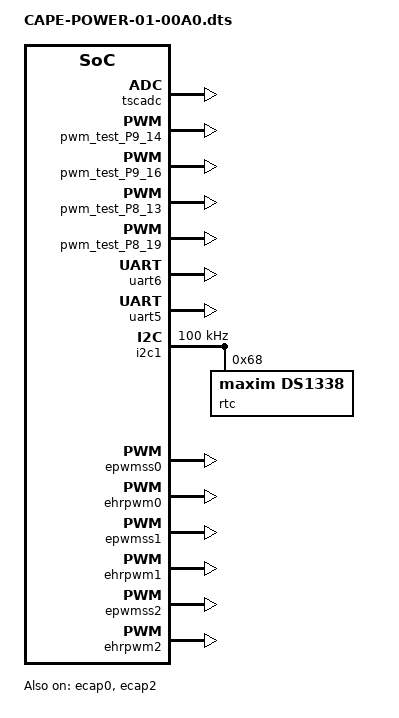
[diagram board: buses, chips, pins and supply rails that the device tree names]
/*
* Jacob Yacovelli
* Modified by William Gerhard
* POWER cape
*/
/dts-v1/;
/plugin/;

/*
 * Pin assignments
 *
 * Module        Connector
 * SWDRVA        P8.07
 * SWDRVB        P8.08
 * LNA_PWR_CTRL  P8.09
 * GP_LED0       P8.10
 * GP_LED1       P8.11
 * DACLDAC       P8.12
 * DACBUSY       P8.13
 * UART-4-TX-EN  P8.14
 * UART-5-TX     P8.37
 * UART-5-RX     P8.38
 * UART-4-RX     P9.11
 * UART-4-TX     P9.13
 * DACSYNC       P9.17
 * DACMOSI       P9.18
 * I2C_SCL_CAPE  P9.19
 * I2C_SDA_CAPE  P9.20
 * DACMISO       P9.21
 * DACSCLK       P9.22
 * DACRESET      P9.23
 * I2C_SCL_ESA   P9.24
 * I2C_SDA_ESA   P9.26
 *
 */

/ {
	compatible = "ti,beaglebone-black";
	part-number = "CAPE-POWER-01";
	version = "00A0";

	/* state the resources this cape uses */
	exclusive-use =
		/* the pin header uses */
		"P8.07",    /* gpio:  gpio2_2 */
		"P8.08",    /* gpio:  gpio2_3 */
		"P8.09",    /* gpio:  gpio2_5 */
		"P8.10",    /* gpio:  gpio2_4 */
		"P8.11",    /* gpio:  gpio1_13 */
		"P8.12",    /* gpio:  gpio1_12 */
		"P8.13",    /* gpio:  gpio0_23 */
		"P8.14",    /* PWM: PWM 2B */
		"P8.15",    /* GPIO */
		"P8.16",    /* GPIO */
		"P8.17",    /* GPIO */
		"P8.18",    /* GPIO */
		"P8.19",    /* PWM: PWM2A */
		"P8.27",    /* GPIO */
		"P8.28",    /* GPIO */
		"P8.29",    /* GPIO */
		"P8.30",    /* GPIO */
		"P8.31",    /* GPIO */
		"P8.32",    /* GPIO */
		"P8.33",    /* GPIO */
		"P8.34",    /* GPIO */
		"P8.35",    /* GPIO */
		"P8.36",    /* GPIO */
		"P8.37",    /* uart:  uart5_txd */
		"P8.38",    /* uart:  uart5_rxd */
		"P8.39",    /* GPIO */
		"P8.40",    /* GPIO */
		"P8.41",    /* GPIO */
		"P8.42",    /* GPIO */
		"P8.43",    /* GPIO */
		"P8.44",    /* GPIO */
		"P8.45",    /* GPIO */
		"P8.46",    /* GPIO */

		"P9.11",    /* uart:  uart4_rxd_mux2 */
		"P9.12",    /* GPIO */
		"P9.13",    /* uart:  uart4_txd_mux2 */
		"P9.14",    /* PWM: PWM1A */
		"P9.15",    /* GPIO */
		"P9.16",    /* PWM: PWM1B */
		"P9.17",    /* GPIO */
		"P9.18",    /* GPIO */
		/*"P9.19",*/    /* i2c:   I2C2_SCL */
		/*"P9.20",*/    /* i2c:   I2C2_SDA */
		"P9.21",    /* uart: uart2_txd*/
		"P9.22",    /* uart: uart2_rxd */
		"P9.23",    /* gpio:  gpio1_17 */
		"P9.24",    /* i2c:   I2C1_SCL */
		"P9.26",    /* i2c:   I2C1_SDA */
		"P9.27",    /* GPIO */
		"P9.28",    /* GPIO */
		"P9.29",    /* GPIO */
		"P9.30",    /* GPIO */
		"P9.31",    /* GPIO */

		"P9.39",    /* AIN0 */
        "P9.40",    /* AIN1 */
        "P9.37",    /* AIN2 */
        "P9.38",    /* AIN3 */
        "P9.33",    /* AIN4 */
        "P9.36",    /* AIN5 */
        "P9.35",    /* AIN6 */

        "P9.42",    /* GPIO */

		/* the hardware IP uses */
		/* P9 Header */
		"gpio0_31",
		"ehrpwm1A", 
		"gpio1_16",
		"ehrpwm1B",
		"gpio0_5",
		"gpio0_4",
		"gpio1_17",
		"gpio3_21",
		"gpio3_19",
		"gpio3_17",
		"gpio3_15",
		"gpio3_16",
		"gpio3_14",
		"gpio0_7",
		"uart4",
		"tscadc",
		"i2c1",

		/* P8 Header */
		"gpio2_2",
		"gpio2_3",
		"gpio2_5",
		"gpio2_4",
		"gpio1_13",
		"gpio1_12",
		"ehrpwm2",
		"gpio0_26",
		"gpio1_15",
		"gpio1_14",
		"gpio0_27",
		"gpio2_1",
		"ehrpwm2A",
		"gpio2_24",
		"gpio2_23",
		"gpio2_25",
		"gpio0_10",
		"gpio0_11",
		"gpio0_9",
		"gpio2_17",
		"gpio0_8",
		"gpio2_16",
		"uart5",
		"gpio2_12",
		"gpio2_13",
		"gpio2_10",
		"gpio2_11",
		"gpio2_8",
		"gpio2_9",
		"gpio2_6",
		"gpio2_7";



	

	fragment@0 {
		target = <&am33xx_pinmux>;
		__overlay__ {

			pwm_P9_14: pinmux_pwm_P9_14_pins {
                                pinctrl-single,pins = <0x048  0x6>; /* P9_14 (ZCZ ball U14) | MODE 6 */
                        };

            pwm_P9_16: pinmux_pwm_P9_16_pins {
                                pinctrl-single,pins = <0x04c  0x6>; /* P9_16 (ZCZ ball T14) | MODE 6 */
                        };

            pwm_P8_13: pinmux_pwm_P8_13_pins {
                                pinctrl-single,pins = <0x024  0x4>; /* P8_13 (ZCZ ball T10) | MODE 4 */
                        };

            pwm_P8_19: pinmux_pwm_P8_19_pins {
                                pinctrl-single,pins = <0x020  0x4>; /* P8_19 (ZCZ ball U10) | MODE 4 */
                        };

			gpio_extra_pins: pinmux_gpio_extra_pins {
				pinctrl-single,pins = <
					0x078  0x2F     /* gpio0_31 | INPUT | MODE7 */
					0x040  0x2F     /* gpio1_16 | INPUT | MODE7 */
					0x15c  0x2F     /* gpio0_5 | INPUT | MODE7 */
					0x158  0x2F     /* gpio0_4 | INPUT | MODE7 */
					0x1ac  0x2F     /* gpio3_21 | INPUT | MODE7 */
					0x198  0x2F     /* gpio3_16 | INPUT | MODE7 */
					0x190  0x2F     /* gpio3_14 | INPUT | MODE7 */
					0x164  0x2F     /* gpio0_7 | INPUT | MODE7 */
					/*P8*/
					0x090  0x2F     /* gpio2_2 | INPUT | MODE7 */
					0x094  0x2F     /* gpio2_3 | INPUT | MODE7 */
					0x09c  0x2F     /* gpio2_5 | INPUT | MODE7 */
					0x098  0x2F     /* gpio2_4 | INPUT | MODE7 */

				>;
			};

			gpio_power_pins: pinmux_gpio_power_pins {
				pinctrl-single,pins = <
					0x1a4  0x07     /* gpio3_19 | OUTPUT | MODE7 */
					0x19c  0x07     /* gpio3_17 | OUTPUT | MODE7 */
					0x194  0x07     /* gpio3_15 | OUTPUT | MODE7 */
					/* P8 */
					0x08c  0x07     /* gpio2_1 | OUTPUT | MODE7 */
					0x0d8  0x07     /* gpio0_10 | OUTPUT | MODE7 */
					0x0dc  0x07     /* gpio0_11 | OUTPUT | MODE7 */
					0x0d4  0x07     /* gpio0_9 | OUTPUT | MODE7 */
					0x0cc  0x07     /* gpio2_17 | OUTPUT | MODE7 */
					0x0d0  0x07     /* gpio0_8 | OUTPUT | MODE7 */
					0x0c8  0x07     /* gpio2_16 | OUTPUT | MODE7 */
					0x0b8  0x07     /* gpio2_12 | OUTPUT | MODE7 */
					0x0bc  0x07     /* gpio2_13 | OUTPUT | MODE7 */
					0x0b0  0x07     /* gpio2_10 | OUTPUT | MODE7 */
					0x0b4  0x07     /* gpio2_11 | OUTPUT | MODE7 */
				
				>;
			};

			gpio_RFSW_pins: pinmux_gpio_RFSW_pins {
				pinctrl-single,pins = <
					0x0e0  0x07     /* gpio2_22 | OUTPUT | MODE7 */
					0x0e8  0x07     /* gpio2_24 | OUTPUT | MODE7 */
					0x0e4  0x07     /* gpio2_23 | OUTPUT | MODE7 */
					0x0ec  0x07     /* gpio2_25 | OUTPUT | MODE7 */
					0x0a8  0x07     /* gpio2_8 | OUTPUT | MODE7 */
					0x0ac  0x07     /* gpio2_9 | OUTPUT | MODE7 */
					0x0a0  0x07     /* gpio2_6 | OUTPUT | MODE7 */
					0x0a4  0x07     /* gpio2_7 | OUTPUT | MODE7 */
				>;
			};

			gpio_power_good_pins: pinmux_gpio_power_good_pins {
				pinctrl-single,pins = <
					0x028  0x2F     /* gpio0_26 | INPUT | MODE7 */
					0x03c  0x2F     /* gpio1_15 | INPUT | MODE7 */
					0x038  0x2F     /* gpio1_14 | INPUT | MODE7 */
					0x02c  0x2F     /* gpio0_27 | INPUT | MODE7 */
				>;
			};

			gpio_status_pins: pinmux_gpio_status_pins {
				pinctrl-single,pins = <
				0x034 0x2F /* gpio1_13 | INPUT | MODE7 */
				0x030 0x2F /* gpio1_12 | INPUT | MODE7 */
					
				>;
			};

			gpio_uart4_pins: pinmux_gpio_uart4_pins {
				pinctrl-single,pins = <
					0x028  0x07     /* gpio0_26 | OUTPUT | MODE7 */
				>;
			};
			gpio_uart2_pins: pinmux_gpio_uart2_pins {
				pinctrl-single,pins = <
					0x044  0x07     /* gpio0_26 | OUTPUT | MODE7 */
				>;
			};

			uart5_pins: pinmux_uart5_pins {
				pinctrl-single,pins = <
					0x0C0 0x04	    /* uart5_txd | MODE4 */
					0x0C4 0x24	    /* uart5_rxd | MODE4 */
				>;
			};

			uart4_pins: pinmux_uart4_pins {
				pinctrl-single,pins = <
					0x070 0x26	    /* uart4_rxd | MODE6 */
					0x074 0x06	    /* uart4_txd | MODE6 */
				>;
			};

			uart2_pins: pinmux_uart2_pins {
				pinctrl-single,pins = <
					0x154 0x21	    /* uart2_rxd | MODE1 */
					0x154 0x01	    /* uart2_txd | MODE1 */
				>;
			};

			
			i2c1_esa_pins: pinmux_i2c1_esa_pins {
				pinctrl-single,pins = <
					0x184 0x73	    /* i2c1_scl, SLEWCTRL_SLOW | INPUT_PULLUP | MODE3 */
					0x180 0x73	    /* i2c1_sda, SLEWCTRL_SLOW | INPUT_PULLUP | MODE3 */
				>;
			};
		};
	};
	
	fragment@1 {
		target = <&ocp>;
		__overlay__ {
			extra_pinmux_helper {
				compatible = "bone-pinmux-helper";
				pinctrl-names = "default";
				pinctrl-0 = <&gpio_extra_pins>;
				status = "okay";
			};

			power_pinmux_helper {
				compatible = "bone-pinmux-helper";
				pinctrl-names = "default";
				pinctrl-0 = <&gpio_power_pins>;
				status = "okay";
			};

			RFSW_pinmux_helper {
				compatible = "bone-pinmux-helper";
				pinctrl-names = "default";
				pinctrl-0 = <&gpio_RFSW_pins>;
				status = "okay";
			};

			power_good_pinmux_helper {
				compatible = "bone-pinmux-helper";
				pinctrl-names = "default";
				pinctrl-0 = <&gpio_power_good_pins>;
				status = "okay";
			};

			status_pinmux_helper {
				compatible = "bone-pinmux-helper";
				pinctrl-names = "default";
				pinctrl-0 = <&gpio_status_pins>;
				status = "okay";
			};

			uart4_pinmux_helper {
				compatible = "bone-pinmux-helper";
				pinctrl-names = "default";
				pinctrl-0 = <&gpio_uart4_pins>;
				status = "okay";
			};

			uart2_pinmux_helper {
				compatible = "bone-pinmux-helper";
				pinctrl-names = "default";
				pinctrl-0 = <&gpio_uart2_pins>;
				status = "okay";
			};
		};
	};

	fragment@2 {
		target = <&uart6>;      /* really uart5 */
		__overlay__ {
			pinctrl-names = "default";
			pinctrl-0 = <&uart5_pins>;
			status = "okay";			
		};
	};

	fragment@3 {
		target = <&uart5>;      /* really uart4 */
		__overlay__ {
			pinctrl-names = "default";
			pinctrl-0 = <&uart4_pins>;
			status = "okay";
		};
	};

	

	fragment@4 {
		target = <&i2c1>;       /* i2c1 is numbered correctly */
		__overlay__ {
			status = "okay";
			pinctrl-names = "default";
			pinctrl-0 = <&i2c1_esa_pins>;

			/* this is the configuration part */
			clock-frequency = <100000>;     

			#address-cells = <1>;
			#size-cells = <0>;

			/* MCP79410 RTC module */
			rtc@68 {
				compatible = "maxim,ds1338";
				reg = <0x68>;
			};
		};
	};

	fragment@5 {
		target = <&ocp>;
		__overlay__ {
			/* avoid stupid warning */
			#address-cells = <1>;
			#size-cells = <1>;

			tscadc {
				compatible = "ti,ti-tscadc";
				reg = <0x44e0d000 0x1000>;

				interrupt-parent = <&intc>;
				interrupts = <16>;
				ti,hwmods = "adc_tsc";
				status = "okay";

				adc {
					ti,adc-channels = <0 1 2 3 4 5 6 7>;
				};
			};

			test_helper: helper {
				compatible = "bone-iio-helper";
				vsense-name  = "AIN0", "AIN1", "AIN2", "AIN3", "AIN4", "AIN5", "AIN6", "AIN7";
				vsense-scale = <100     100     100     100     100     100     100     100>;
				status = "okay";
			};
		};
	};

	       fragment@6 {
                target = <&epwmss0>;
                __overlay__ {
                        status = "okay";
                };
        };

        fragment@7 {
                target = <&ehrpwm0>;
                __overlay__ {
                        status = "okay";
                };
        };

        fragment@8 {
                target = <&ecap0>;
                __overlay__ {
                        status = "okay";
                };
        };

        fragment@9 {
                target = <&epwmss1>;
                __overlay__ {
                        status = "okay";
                };
        };
  
        fragment@10 {
                target = <&ehrpwm1>;   
                __overlay__ {
                        status = "okay";
                };
        };
   
        fragment@11 {
         	target = <&epwmss2>;
                __overlay__ {
                        status = "okay";
   	        };
        };

                fragment@12 {
                target = <&ehrpwm2>;
                __overlay__ {
                        status = "okay";
                };
        };

        fragment@13 {
                target = <&ecap2>;
                __overlay__ {
                        status = "okay";
                };
        };

        fragment@14 {
                target = <&ocp>;
                __overlay__ {
                        pwm_test_P9_14 {
                                compatible	= "pwm_test";
                                pwms            = <&ehrpwm1 0 500000 1>;
                                pwm-names	= "PWM_P9_14";
                            pinctrl-names	= "default";
                            pinctrl-0   = <&pwm_P9_14>;
                                enabled         = <1>;
                                duty            = <0>;
                                status          = "okay";
                        };
                };
        };

         fragment@15 {
                target = <&ocp>;
                __overlay__ {
                        pwm_test_P9_16 {
                                compatible	= "pwm_test";
                                pwms            = <&ehrpwm1 1 500000 1>;
                                pwm-names	= "PWM_P9_16";
                            pinctrl-names	= "default";
                            pinctrl-0   = <&pwm_P9_16>;
                                enabled         = <1>;
                                duty            = <0>;
                                status          = "okay";
                        };
                };
            };

   fragment@16 {
                target = <&ocp>;
                __overlay__ {
                        pwm_test_P8_13 {
                                compatible	= "pwm_test";
                                pwms            = <&ehrpwm2 1 500000 1>;
                                pwm-names	= "PWM_P8_13";

                                pinctrl-names   = "default";
                                pinctrl-0	= <&pwm_P8_13>;

                                enabled         = <1>;
                                duty            = <0>;
                                status          = "okay";
                        };
                };
        };

    fragment@17 {
                target = <&ocp>;
                __overlay__ {
                        pwm_test_P8_19 {
                                compatible	= "pwm_test";
                                pwms            = <&ehrpwm2 0 500000 1>;
                                pwm-names	= "PWM_P8_19";

                                pinctrl-names   = "default";
                                pinctrl-0	= <&pwm_P8_19>;

                                enabled         = <1>;
                                duty            = <0>;
                                status          = "okay";
                        };
                };
        };


};
